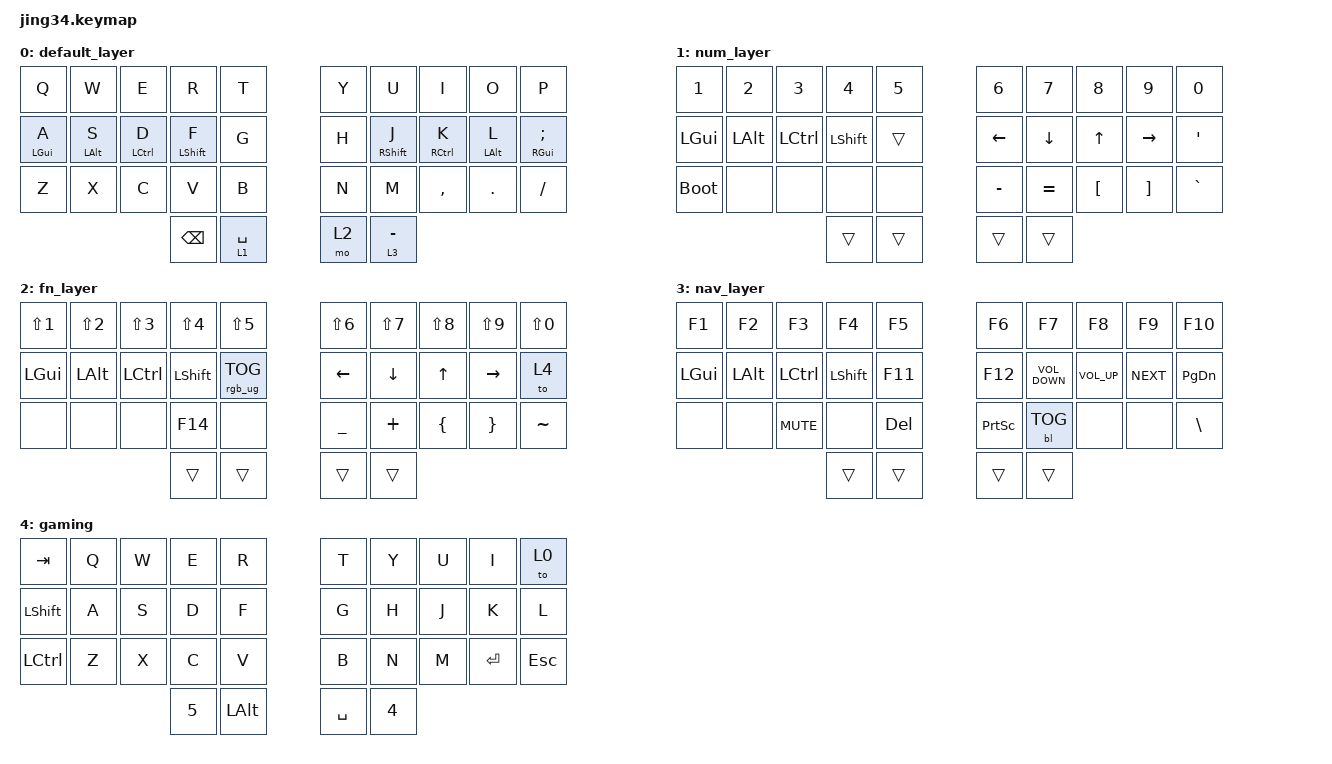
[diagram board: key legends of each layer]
// Copyright (c) 2022 The ZMK Contributors
// SPDX-License-Identifier: MIT

#include <behaviors.dtsi>
#include <dt-bindings/zmk/backlight.h>
#include <dt-bindings/zmk/keys.h>
#include <dt-bindings/zmk/rgb.h>

// Home row mods macro
//#define HRML(k1,k2,k3,k4) &ht LGUI k1  &ht LALT k2  &ht LCTRL k3 &ht LSHFT
//#define HRMR(k1,k2,k3,k4) &ht LSHFT k1 &ht RCTRL k2 &ht LALT k3  &ht RGUI k4  

/ {
    behaviors {
        ht: hold_tap {
            compatible = "zmk,behavior-hold-tap";
            #binding-cells = <2>;
            flavor = "tap-preferred";
            tapping-term-ms = <150>;
            require-prior-idle-ms = <125>;
            bindings = <&kp>, <&kp>;
        };

        mt: mod_tap {
            #binding-cells = <2>;
            tapping-term-ms = <200>;
            quick-tap-ms = <220>;
            require-prior-idle-ms = <125>;
            bindings = <&kp>, <&kp>;
        };

        combos {
            compatible = "zmk,combos";

            combo_tab {
                timeout-ms = <50>;
                key-positions = <0 1>;
                bindings = <&kp TAB>;
                layers = <0>;
            };

            combo_bspc {
                timeout-ms = <50>;
                key-positions = <13 12>;
                bindings = <&kp BSPC>;
                layers = <0>;
            };

            combo_bspcw {
                timeout-ms = <50>;
                key-positions = <17 16>;
                bindings = <&kp LC(BSPC)>;
                layers = <0>;
            };

            combo_cw {
                timeout-ms = <50>;
                key-positions = <20 11>;
                bindings = <&caps_word>;
                layers = <0>;
            };

            combo_esc {
                timeout-ms = <50>;
                key-positions = <10 1>;
                bindings = <&kp ESC>;
                layers = <0>;
            };

            combo_reset {
                timeout-ms = <50>;
                key-positions = <0 9>;
                layers = <0>;
                bindings = <&sys_reset>;
            };

            combo_boot {
                timeout-ms = <50>;
                key-positions = <20 29>;
                layers = <0>;
                bindings = <&bootloader>;
            };

            combo_enter {
                bindings = <&kp ENTER>;
                key-positions = <26 17>;
            };
        };
    };

    macros {
        shifted: macro_shifted_kp {
            #binding-cells = <1>;
            compatible = "zmk,behavior-macro-one-param";
            bindings =
                <&macro_press>,
                <&kp LSHFT &macro_param_1to1>,
                <&macro_tap>,
                <&kp MACRO_PLACEHOLDER>,
                <&macro_release>,
                <&kp LSHFT>;
        };
    };

    keymap {
        compatible = "zmk,keymap";

        default_layer {
            bindings = <
&kp Q       &kp W       &kp E        &kp R          &kp T        &kp Y  &kp U        &kp I        &kp O       &kp P
&ht LGUI A  &ht LALT S  &ht LCTRL D  &ht LSHFT F    &kp G        &kp H  &ht RSHFT J  &ht RCTRL K  &ht LALT L  &ht RGUI SEMI
&kp Z       &kp X       &kp C        &kp V          &kp B        &kp N  &kp M        &kp COMMA    &kp DOT     &kp FSLH
                                     &kp BACKSPACE  &lt 1 SPACE         &mo 2        &lt 3 MINUS
            >;
        };

        num_layer {
            bindings = <
&kp N1       &kp N2    &kp N3     &kp N4     &kp N5  &kp N6          &kp N7          &kp N8        &kp N9     &kp N0
&kp LGUI     &kp LALT  &kp LCTRL  &kp LSHFT  &trans  &kp LEFT_ARROW  &kp DOWN_ARROW  &kp UP_ARROW  &kp RIGHT  &kp APOS
&bootloader  &none     &none      &none      &none   &kp MINUS       &kp EQUAL       &kp LBKT      &kp RBKT   &kp GRAVE
                                  &trans     &trans                  &trans          &trans
            >;
        };

        fn_layer {
            bindings = <
&kp LS(N1)  &kp LS(N2)  &kp LS(N3)  &kp LS(N4)  &kp LS(N5)       &kp LS(N6)  &kp LS(N7)  &kp LS(N8)  &kp LS(N9)  &kp LS(N0)
&kp LGUI    &kp LALT    &kp LCTRL   &kp LSHFT   &rgb_ug RGB_TOG  &kp LEFT    &kp DOWN    &kp UP      &kp RIGHT   &to 4
&none       &none       &none       &kp F14     &none            &kp UNDER   &kp PLUS    &kp LBRC    &kp RBRC    &kp TILDE
                                    &trans      &trans                       &trans      &trans
            >;
        };

        nav_layer {
            bindings = <
&kp F1    &kp F2    &kp F3      &kp F4     &kp F5   &kp F6           &kp F7             &kp F8           &kp F9      &kp F10
&kp LGUI  &kp LALT  &kp LCTRL   &kp LSHFT  &kp F11  &kp F12          &kp C_VOLUME_DOWN  &kp C_VOLUME_UP  &kp C_NEXT  &kp PG_DN
&none     &none     &kp C_MUTE  &none      &kp DEL  &kp PRINTSCREEN  &bl BL_TOG         &none            &none       &kp BACKSLASH
                                &trans     &trans                    &trans             &trans
            >;
        };

        gaming {
            bindings = <
&kp TAB    &kp Q  &kp W  &kp E   &kp R     &kp T  &kp Y      &kp U   &kp I      &to 0
&kp LSHFT  &kp A  &kp S  &kp D   &kp F     &kp G  &kp H      &kp J   &kp K      &kp L
&kp LCTRL  &kp Z  &kp X  &kp C   &kp V     &kp B  &kp N      &kp M   &kp ENTER  &kp ESC
                         &kp N5  &kp LALT         &kp SPACE  &kp N4
            >;
        };
    };
};
